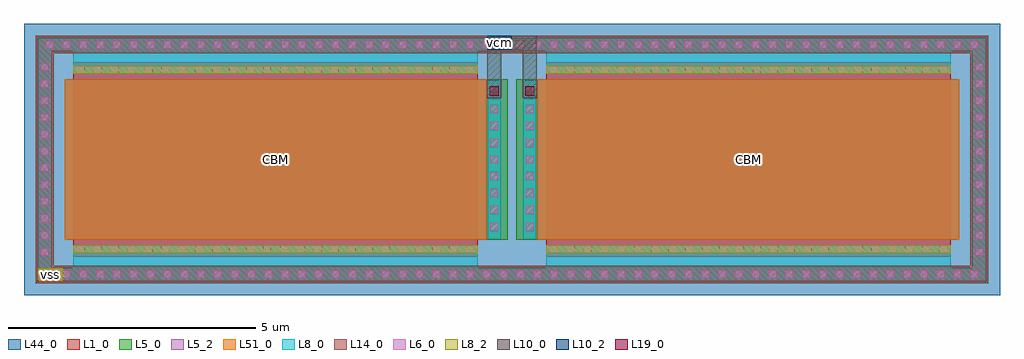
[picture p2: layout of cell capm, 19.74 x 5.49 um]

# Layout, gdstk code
from math import pi, radians
import gdstk
lib = gdstk.Library(unit=1e-6, precision=1e-09)
def R(c, l, rs):  # rectangles x0, y0, x1, y1
    for r in rs: c.add(gdstk.rectangle(r[:2], r[2:], *l))
def A(c, l, x, y, w, h, nx, ny, dx, dy):  # array of equal rectangles
    R(c, l, [(x+i*dx, y+j*dy, x+i*dx+w, y+j*dy+h) for i in range(nx) for j in range(ny)])
L1_0 = (1, 0)
L5_0 = (5, 0)
L5_2 = (5, 2)
L6_0 = (6, 0)
L8_0 = (8, 0)
L8_2 = (8, 2)
L10_0 = (10, 0)
L10_2 = (10, 2)
L14_0 = (14, 0)
L19_0 = (19, 0)
L44_0 = (44, 0)
L51_0 = (51, 0)

nmoshv_1 = lib.new_cell('nmosHV$1')
R(nmoshv_1, L1_0, [(0,0,0.3,0.3), (0,0,3.93,8.18), (3.63,0,3.93,0.3)])
R(nmoshv_1, L5_0, [(0.34,-0.18,3.59,8.36)])
R(nmoshv_1, L5_2, [(0.34,-0.18,3.59,8.36)])
A(nmoshv_1, L6_0, 0.07, 7.26, 0.16, 0.16, 1, 3, 0, 0.345)
A(nmoshv_1, L6_0, 3.7, 7.26, 0.16, 0.16, 1, 3, 0, 0.345)
R(nmoshv_1, L6_0, [(0.07,0.07,0.23,0.23), (3.7,0.07,3.86,0.23), (0.07,0.41,0.23,0.57), (3.7,0.41,3.86,0.57), (0.07,0.755,0.23,0.915), (3.7,0.755,3.86,0.915), (0.07,1.095,0.23,1.255), (3.7,1.095,3.86,1.255), (0.07,1.44,0.23,1.6), (3.7,1.44,3.86,1.6), (0.07,1.78,0.23,1.94), (3.7,1.78,3.86,1.94), (0.07,2.125,0.23,2.285), (3.7,2.125,3.86,2.285), (0.07,2.465,0.23,2.625), (3.7,2.465,3.86,2.625), (0.07,2.81,0.23,2.97), (3.7,2.81,3.86,2.97), (0.07,3.15,0.23,3.31), (3.7,3.15,3.86,3.31), (0.07,3.495,0.23,3.655), (3.7,3.495,3.86,3.655), (0.07,3.835,0.23,3.995), (3.7,3.835,3.86,3.995), (0.07,4.18,0.23,4.34), (3.7,4.18,3.86,4.34), (0.07,4.52,0.23,4.68), (3.7,4.52,3.86,4.68), (0.07,4.865,0.23,5.025), (3.7,4.865,3.86,5.025), (0.07,5.205,0.23,5.365), (3.7,5.205,3.86,5.365), (0.07,5.55,0.23,5.71), (3.7,5.55,3.86,5.71), (0.07,5.89,0.23,6.05), (3.7,5.89,3.86,6.05), (0.07,6.235,0.23,6.395), (3.7,6.235,3.86,6.395), (0.07,6.575,0.23,6.735), (3.7,6.575,3.86,6.735), (0.07,6.92,0.23,7.08), (3.7,6.92,3.86,7.08)])
R(nmoshv_1, L8_0, [(0.07,0,0.23,8.18), (3.7,0,3.86,8.18)])
R(nmoshv_1, L8_2, [(0.07,0,0.23,8.18), (3.7,0,3.86,8.18)])
R(nmoshv_1, L44_0, [(-0.27,-0.52,4.2,8.7)])
R(nmoshv_1, L51_0, [(0.34,-0.18,3.59,8.36)])
nmoshv_1.add(gdstk.Label('nmosHV', (1.965,4.09), layer=63, texttype=0))
nmoshv_1.add(gdstk.Label('nmosHV', (1.965,4.09), layer=51, texttype=0))

capm = lib.new_cell('capm')
R(capm, L1_0, [(-0.73,-0.51,18.47,-0.21), (-0.73,-0.51,-0.43,4.44), (18.17,-0.51,18.47,4.44), (-0.73,4.14,18.47,4.44)])
R(capm, L5_0, [(8.28,0.34,8.78,3.59), (8.96,0.34,9.46,3.59)])
A(capm, L6_0, -0.56, -0.44, 0.16, 0.16, 56, 2, 0.34, 4.65)
A(capm, L6_0, -0.66, 0.015, 0.16, 0.16, 1, 12, 0, 0.34)
A(capm, L6_0, 18.24, 0.015, 0.16, 0.16, 1, 12, 0, 0.34)
A(capm, L6_0, 8.43, 0.525, 0.16, 0.16, 1, 9, 0, 0.34)
A(capm, L6_0, 9.15, 0.525, 0.16, 0.16, 1, 9, 0, 0.34)
R(capm, L8_0, [(-0.71,-0.49,18.45,-0.23), (-0.71,-0.49,-0.45,4.42), (18.19,-0.49,18.45,4.42), (0,-0.23,8.18,0.23), (9.56,-0.23,17.74,0.23), (8.38,0.36,8.64,3.57), (9.1,0.36,9.36,3.57), (0,3.7,8.18,4.16), (9.56,3.7,17.74,4.16), (-0.71,4.16,18.45,4.42)])
R(capm, L8_2, [(-0.71,-0.49,-0.21,-0.23)])
R(capm, L10_0, [(8.365,3.205,8.655,4.47), (9.085,3.205,9.375,4.47), (8.365,4.18,9.375,4.47)])
R(capm, L10_2, [(8.365,4.18,8.865,4.47)])
R(capm, L14_0, [(-0.76,-0.54,18.5,-0.18), (-0.76,-0.54,-0.4,4.47), (18.14,-0.54,18.5,4.47), (-0.76,4.11,18.5,4.47)])
R(capm, L19_0, [(8.415,3.255,8.605,3.445), (9.135,3.255,9.325,3.445)])
R(capm, L44_0, [(-1,-0.78,18.74,4.71)])
capm.add(gdstk.Reference(nmoshv_1, (0,3.93), rotation=3*pi/2))
capm.add(gdstk.Reference(nmoshv_1, (17.74,3.93), rotation=3*pi/2, x_reflection=True))
capm.add(gdstk.Label('vss', (-0.46,-0.36), layer=8, texttype=25))
capm.add(gdstk.Label('vcm', (8.615,4.325), layer=10, texttype=25))
capm.add(gdstk.Label('CBM', (4.09,1.965), layer=63, texttype=0))
capm.add(gdstk.Label('CBM', (13.65,1.965), layer=63, texttype=0))

lib.write_gds('capm.gds')
